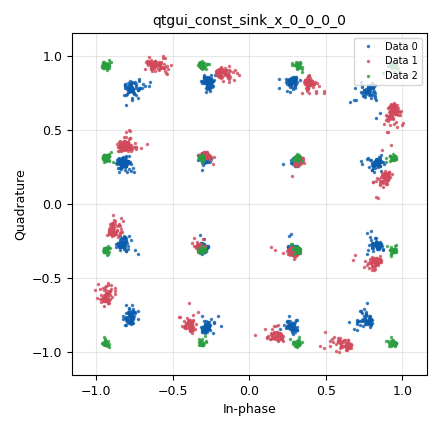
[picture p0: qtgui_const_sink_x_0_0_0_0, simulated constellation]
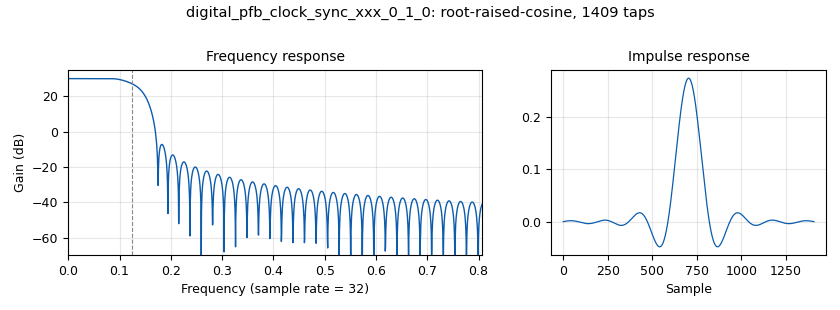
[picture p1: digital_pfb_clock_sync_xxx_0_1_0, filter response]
options:
  parameters:
    author: LI
    generate_options: qt_gui
    id: default
    output_language: python
    title: Not titled yet
  states: {}

blocks:
- name: excess_bw
  id: variable
  parameters:
    comment: '[excessive bandwidth] for cosine filter'
    value: '0.35'
  states: {}
- name: nfilts
  id: variable
  parameters:
    comment: The [number] of [Synchronized Filter Bank]
    value: '32'
  states: {}
- name: qam16
  id: variable_constellation
  parameters:
    precision: '8'
    type: 16qam
  states: {}
- name: rrc_taps
  id: variable
  parameters:
    value: firdes.root_raised_cosine(1, sps, 1, excess_bw, 45)
  states: {}
- name: rrc_taps_sync
  id: variable
  parameters:
    value: firdes.root_raised_cosine(nfilts, nfilts, 1.0/float(sps), excess_bw, 11*sps*nfilts)
  states: {}
- name: samp_rate
  id: variable
  parameters:
    value: '32000'
  states: {}
- name: samp_rate_0
  id: variable
  parameters:
    value: '32000'
  states: {}
- name: sps
  id: variable
  parameters:
    comment: The [number of samples] for every symbol
    value: '4'
  states: {}
- name: analog_random_source_x_0
  id: analog_random_source_x
  parameters:
    max: '256'
    min: '0'
    num_samps: '16384'
    repeat: 'True'
    type: byte
  states: {}
- name: blocks_multiply_const_xx_0
  id: blocks_multiply_const_xx
  parameters:
    const: '1.0'
    type: complex
  states: {}
- name: blocks_throttle_0_0_0_0
  id: blocks_throttle
  parameters:
    samples_per_second: samp_rate
    type: complex
  states: {}
- name: blocks_throttle_0_0_0_0_0
  id: blocks_throttle
  parameters:
    samples_per_second: samp_rate
    type: complex
  states: {}
- name: blocks_throttle_0_0_0_0_1
  id: blocks_throttle
  parameters:
    samples_per_second: samp_rate
    type: complex
  states: {}
- name: digital_constellation_modulator_0_0_0_0
  id: digital_constellation_modulator
  parameters:
    constellation: qam16
    differential: 'False'
    excess_bw: excess_bw
    samples_per_symbol: sps
  states: {}
- name: digital_pfb_clock_sync_xxx_0_1_0
  id: digital_pfb_clock_sync_xxx
  parameters:
    filter_size: nfilts
    init_phase: nfilts/2
    loop_bw: 6.28/100.0
    max_dev: '1.5'
    osps: '1'
    sps: sps
    taps: rrc_taps_sync
    type: ccf
  states: {}
- name: digital_pfb_clock_sync_xxx_0_1_0_0
  id: digital_pfb_clock_sync_xxx
  parameters:
    filter_size: nfilts
    init_phase: nfilts/2
    loop_bw: 6.28/100.0
    max_dev: '1.5'
    osps: '1'
    sps: sps
    taps: rrc_taps_sync
    type: ccf
  states: {}
- name: digital_pfb_clock_sync_xxx_0_1_0_1
  id: digital_pfb_clock_sync_xxx
  parameters:
    filter_size: nfilts
    init_phase: nfilts/2
    loop_bw: 6.28/100.0
    max_dev: '1.5'
    osps: '1'
    sps: sps
    taps: rrc_taps_sync
    type: ccf
  states: {}
- name: epy_block_0
  id: epy_block
  parameters:
    K: '5'
    Q: '1'
    _source_code: |
      #!/usr/bin/env python3
      # -*- coding: utf-8 -*-
      #
      # SPDX-License-Identifier: GPL-3.0
      #
      # Embedded Python Block: Memory Polynomial DPD for GNU Radio
      # Implements a digital predistorter using a memory polynomial model

      import numpy as np
      from gnuradio import gr

      class MP_DPD(gr.sync_block):
          """
          Memory Polynomial Digital Predistortion (DPD) Block.

          y[n] = sum_{m=0}^Q sum_{p=1,3,...,K} a_{p,m} * x[n-m] * |x[n-m]|^(p-1)

          Args:
              coeffs (list of lists): complex coefficients a_{p,m} of shape (P, Q+1),
                  where P = (K+1)/2 rows for orders p=1,3,...,K and Q+1 columns for delays m=0..Q.
              K (int): maximum odd nonlinear order (e.g., 5).
              Q (int): memory depth (e.g., 9 delays).
          """
          def __init__(self, coeffs=None, K=5, Q=1):
              gr.sync_block.__init__(
                  self,
                  name='MP_DPD',
                  in_sig=[np.complex64],
                  out_sig=[np.complex64]
              )
              # 参数校验
              if coeffs is None:
                 # raise ValueError("MP_DPD: must supply 'coeffs' as a list of lists.")
                 coeffs = [
                      [9.138884e-01+3.676318e-02j, 4.883846e-02-9.244402e-02j],
                      [3.472112e-02+1.207297e-01j, -4.867465e-02+3.718652e-02j],
                      [-8.472962e-03-5.038591e-02j, 1.019886e-02+3.677094e-02j],
                  ]
              self.coeffs = np.array(coeffs, dtype=np.complex64)
              if self.coeffs.ndim != 2:
                  raise ValueError("MP_DPD: 'coeffs' must be 2D array-like (orders x delays).")

              # 模型阶数与记忆深度
              self.K = K
              self.Q = Q
              self.orders = list(range(1, K+1, 2))  # [1,3,5,...,K]
              if self.coeffs.shape != (len(self.orders), Q+1):
                  raise ValueError(
                      f"MP_DPD: coeffs shape must be ({len(self.orders)}, {Q+1}), got {self.coeffs.shape}"
                  )

              # 历史样本缓冲区 (保存最近 Q 个样本)
              self.history = np.zeros(self.Q, dtype=np.complex64)

          def work(self, input_items, output_items):
              x_new = input_items[0]
              y_out = output_items[0]
              N = len(x_new)

              # 前端拼接历史样本
              x_full = np.concatenate((self.history, x_new))  # 长度 Q + N

              # 计算 DPD 输出
              y_out[:] = 0
              for idx, p in enumerate(self.orders):
                  for m in range(self.Q + 1):
                      a_pm = self.coeffs[idx, m]
                      # 延迟 m 的输入向量
                      x_del = x_full[self.Q - m : self.Q - m + N]
                      # 多项式叠加
                      y_out += a_pm * x_del * (np.abs(x_del) ** (p - 1))

              # 更新历史样本用于下一个块
              if self.Q > 0:
                  self.history = x_full[-self.Q:]

              return len(y_out)
    coeffs: '[[9.138884e-01+3.676318e-02j, 4.883846e-02-9.244402e-02j],[3.472112e-02+1.207297e-01j, -4.867465e-02+3.718652e-02j],[-8.472962e-03-5.038591e-02j, 1.019886e-02+3.677094e-02j],]'
  states: {}
- name: epy_block_1
  id: epy_block
  parameters:
    _source_code: |-
      import numpy as np
      from gnuradio import gr

      class PA_model_GMP(gr.sync_block):
          """
          Generalized Memory Polynomial (GMP) PA Model Block.

          This block implements a GMP model defined by the equation:
          y[n] = sum_{k=1 to K} sum_{q=0 to Q} a_kq * x[n-q] * |x[n-q]|^{k-1}

          The coefficients 'a_kq' are provided as a 2D list or numpy array.
          """
          def __init__(self, coeffs= [
          [0.95+0.01j, 0.05-0.02j],  # k=1: a_10, a_11 (线性项和记忆项)
          [0.00-0.00j, 0.00+0.00j],  # k=2: a_20, a_21 (主要引起AM/PM)
          [-0.1-0.08j, -0.02-0.01j]  # k=3: a_30, a_31 (主要引起AM/AM)
      ]):
              """
              Args:
                  coeffs (list or numpy.ndarray): A 2D array-like structure for the
                      complex coefficients a_kq. The shape should be K x (Q+1).
                      Example: [[a_10, a_11], [a_20, a_21], [a_30, a_31]]
                      for K=3, Q=1.
              """
              gr.sync_block.__init__(
                  self,
                  name='PA_model_GMP',
                  in_sig=[np.complex64],
                  out_sig=[np.complex64]
              )

              # --- 从系数矩阵中推导模型参数 ---
              self.coeffs = np.array(coeffs, dtype=np.complex64)
              if self.coeffs.ndim != 2:
                  raise ValueError("Coefficients must be a 2D array-like object.")

              # K is the number of rows (non-linearity order)
              # Q is (number of columns - 1) (memory depth)
              self.K = self.coeffs.shape[0]
              self.Q = self.coeffs.shape[1] - 1
              
              if self.Q < 0:
                  raise ValueError("Coefficients matrix must have at least one column.")

              # --- 初始化用于存储历史样本的状态变量 ---
              # self.history stores the last Q input samples for memory effects.
              self.history = np.zeros(self.Q, dtype=np.complex64)

          def work(self, input_items, output_items):
              # input_items[0] is the new block of input samples
              # output_items[0] is where we write our output samples
              x_new = input_items[0]
              y_out = output_items[0]
              
              # --- 核心处理逻辑 ---

              # 1. 将历史样本与新输入样本拼接，形成一个完整的工作向量
              #    This allows us to compute y[n] which depends on x[n-q]
              x_full = np.concatenate((self.history, x_new))
              
              # 获取新输入的长度
              num_new_samples = len(x_new)
              
              # 初始化输出为零
              # The output is a summation, so we start with zeros.
              y_out[:] = 0.0

              # 2. 执行GMP双重求和计算
              # Outer loop over non-linearity order k (from 1 to K)
              for k_idx in range(self.K):
                  k = k_idx + 1 # k runs from 1 to K
                  # Inner loop over memory depth q (from 0 to Q)
                  for q in range(self.Q + 1):
                      # 获取系数 a_kq
                      a_kq = self.coeffs[k_idx, q]
                      
                      # 获取带有延迟的输入信号 x[n-q]
                      # For an output block of size N, the corresponding input
                      # slice from x_full is x_full[Q-q : Q-q+N]
                      delayed_input = x_full[self.Q - q : self.Q - q + num_new_samples]
                      
                      # 计算当前项并累加到输出
                      # term = a_kq * x[n-q] * |x[n-q]|^{k-1}
                      term = a_kq * delayed_input * (np.abs(delayed_input)**(k - 1))
                      y_out[:] += term

              # 3. 更新历史记录，为下一次调用work做好准备
              # The last Q samples of the full input vector become the new history.
              self.history = x_full[-self.Q:] if self.Q > 0 else np.array([])
              
              # 4. 返回处理的样本数
              return len(y_out)
    coeffs: '[[1.00+0.01j, 0.05-0.02j],[0.00-0.00j, 0.00+0.00j],[-0.1-0.08j, -0.02-0.01j]]'
  states: {}
- name: epy_block_1_0
  id: epy_block
  parameters:
    _source_code: |-
      import numpy as np
      from gnuradio import gr

      class PA_model_GMP(gr.sync_block):
          """
          Generalized Memory Polynomial (GMP) PA Model Block.

          This block implements a GMP model defined by the equation:
          y[n] = sum_{k=1 to K} sum_{q=0 to Q} a_kq * x[n-q] * |x[n-q]|^{k-1}

          The coefficients 'a_kq' are provided as a 2D list or numpy array.
          """
          def __init__(self, coeffs= [
          [0.95+0.01j, 0.05-0.02j],  # k=1: a_10, a_11 (线性项和记忆项)
          [0.00-0.00j, 0.00+0.00j],  # k=2: a_20, a_21 (主要引起AM/PM)
          [-0.1-0.08j, -0.02-0.01j]  # k=3: a_30, a_31 (主要引起AM/AM)
      ]):
              """
              Args:
                  coeffs (list or numpy.ndarray): A 2D array-like structure for the
                      complex coefficients a_kq. The shape should be K x (Q+1).
                      Example: [[a_10, a_11], [a_20, a_21], [a_30, a_31]]
                      for K=3, Q=1.
              """
              gr.sync_block.__init__(
                  self,
                  name='PA_model_GMP',
                  in_sig=[np.complex64],
                  out_sig=[np.complex64]
              )

              # --- 从系数矩阵中推导模型参数 ---
              self.coeffs = np.array(coeffs, dtype=np.complex64)
              if self.coeffs.ndim != 2:
                  raise ValueError("Coefficients must be a 2D array-like object.")

              # K is the number of rows (non-linearity order)
              # Q is (number of columns - 1) (memory depth)
              self.K = self.coeffs.shape[0]
              self.Q = self.coeffs.shape[1] - 1
              
              if self.Q < 0:
                  raise ValueError("Coefficients matrix must have at least one column.")

              # --- 初始化用于存储历史样本的状态变量 ---
              # self.history stores the last Q input samples for memory effects.
              self.history = np.zeros(self.Q, dtype=np.complex64)

          def work(self, input_items, output_items):
              # input_items[0] is the new block of input samples
              # output_items[0] is where we write our output samples
              x_new = input_items[0]
              y_out = output_items[0]
              
              # --- 核心处理逻辑 ---

              # 1. 将历史样本与新输入样本拼接，形成一个完整的工作向量
              #    This allows us to compute y[n] which depends on x[n-q]
              x_full = np.concatenate((self.history, x_new))
              
              # 获取新输入的长度
              num_new_samples = len(x_new)
              
              # 初始化输出为零
              # The output is a summation, so we start with zeros.
              y_out[:] = 0.0

              # 2. 执行GMP双重求和计算
              # Outer loop over non-linearity order k (from 1 to K)
              for k_idx in range(self.K):
                  k = k_idx + 1 # k runs from 1 to K
                  # Inner loop over memory depth q (from 0 to Q)
                  for q in range(self.Q + 1):
                      # 获取系数 a_kq
                      a_kq = self.coeffs[k_idx, q]
                      
                      # 获取带有延迟的输入信号 x[n-q]
                      # For an output block of size N, the corresponding input
                      # slice from x_full is x_full[Q-q : Q-q+N]
                      delayed_input = x_full[self.Q - q : self.Q - q + num_new_samples]
                      
                      # 计算当前项并累加到输出
                      # term = a_kq * x[n-q] * |x[n-q]|^{k-1}
                      term = a_kq * delayed_input * (np.abs(delayed_input)**(k - 1))
                      y_out[:] += term

              # 3. 更新历史记录，为下一次调用work做好准备
              # The last Q samples of the full input vector become the new history.
              self.history = x_full[-self.Q:] if self.Q > 0 else np.array([])
              
              # 4. 返回处理的样本数
              return len(y_out)
    coeffs: '[[1.00+0.01j, 0.05-0.02j],[0.00-0.00j, 0.00+0.00j],[-0.1-0.08j, -0.02-0.01j]]'
  states: {}
- name: qtgui_const_sink_x_0_0_0_0
  id: qtgui_const_sink_x
  parameters:
    autoscale: 'True'
    color3: '"red"'
    gui_hint: 3,2,1,1
    nconnections: '3'
    size: '1024'
    type: complex
  states: {}

connections:
- [analog_random_source_x_0, '0', digital_constellation_modulator_0_0_0_0, '0']
- [blocks_multiply_const_xx_0, '0', blocks_throttle_0_0_0_0, '0']
- [blocks_throttle_0_0_0_0, '0', digital_pfb_clock_sync_xxx_0_1_0, '0']
- [blocks_throttle_0_0_0_0_0, '0', digital_pfb_clock_sync_xxx_0_1_0_0, '0']
- [blocks_throttle_0_0_0_0_1, '0', digital_pfb_clock_sync_xxx_0_1_0_1, '0']
- [digital_constellation_modulator_0_0_0_0, '0', blocks_throttle_0_0_0_0_1, '0']
- [digital_constellation_modulator_0_0_0_0, '0', epy_block_0, '0']
- [digital_constellation_modulator_0_0_0_0, '0', epy_block_1_0, '0']
- [digital_pfb_clock_sync_xxx_0_1_0, '0', qtgui_const_sink_x_0_0_0_0, '0']
- [digital_pfb_clock_sync_xxx_0_1_0_0, '0', qtgui_const_sink_x_0_0_0_0, '1']
- [digital_pfb_clock_sync_xxx_0_1_0_1, '0', qtgui_const_sink_x_0_0_0_0, '2']
- [epy_block_0, '0', epy_block_1, '0']
- [epy_block_1, '0', blocks_multiply_const_xx_0, '0']
- [epy_block_1_0, '0', blocks_throttle_0_0_0_0_0, '0']

metadata:
  file_format: 1
  grc_version: 3.10.12.0
